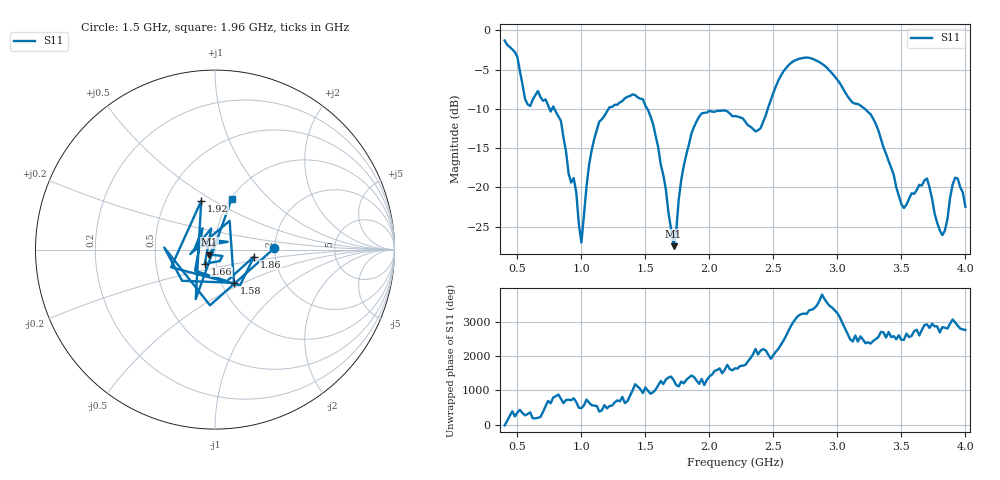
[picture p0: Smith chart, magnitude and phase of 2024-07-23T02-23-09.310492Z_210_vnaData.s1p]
!Created with skrf (http://scikit-rf.org).
# Hz S RI R 50.0
!freq ReS11 ImS11
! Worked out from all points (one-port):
!   181 points, 400 MHz to 4 GHz, reference 50 ohm
!   lowest |S11| = -27.5 dB at 1.72 GHz (marker M1), VSWR 1.09, Z = 46.8 - j2.57 ohm
!   |S11| at or under -10 dB: 788.9 MHz to 1.212 GHz (423 MHz wide, 42.3 % of centre); 1.515 GHz to 2.456 GHz (940.7 MHz wide, 47.4 % of centre); 3.215 GHz to end of sweep (the widest 3 of 4)
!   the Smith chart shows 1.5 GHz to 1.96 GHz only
!   S11 on the Smith chart (normalised r, x): 1.5 GHz: 1.99, +0.04; 1.58 GHz: 1.14, -0.44; 1.66 GHz: 0.88, -0.14; 1.86 GHz: 1.55, -0.13; 1.92 GHz: 0.75, +0.44; 1.96 GHz: 1.01, +0.63
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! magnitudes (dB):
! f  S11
! 400 MHz  -1.3
! 500 MHz  -3.4
! 580 MHz  -9.4
! 660 MHz  -7.7
! 860 MHz  -13.7
! 960 MHz  -20.7
! 1 GHz  -27.0
! 1.1 GHz  -13.8
! 1.3 GHz  -9.2
! 1.5 GHz  -9.6
! 1.58 GHz  -13.4
! 1.66 GHz  -20.3
! 1.72 GHz  -27.5
! 1.76 GHz  -21.6
! 1.86 GHz  -13.1
! 1.92 GHz  -11.0
! 1.96 GHz  -10.5
! 2.2 GHz  -10.9
! 2.4 GHz  -12.5
! 2.66 GHz  -3.9
! 3.1 GHz  -8.8
! 3.26 GHz  -10.7
! 3.5 GHz  -22.2
! 3.56 GHz  -21.5
! 3.7 GHz  -18.9
! 3.82 GHz  -26.1
! 3.92 GHz  -18.8
! 4 GHz  -22.5
